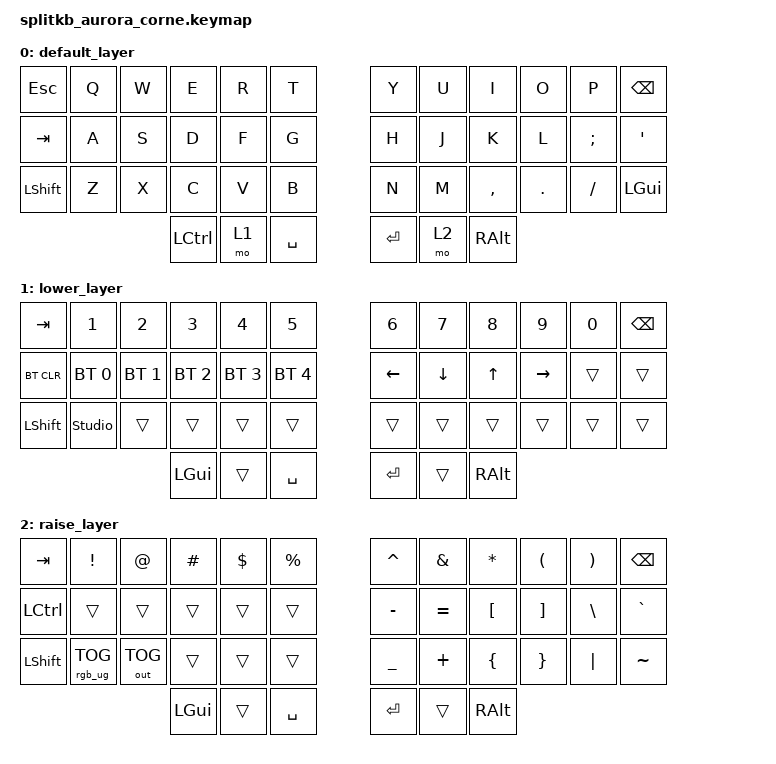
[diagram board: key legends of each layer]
/*
 * Copyright (c) 2020 The ZMK Contributors
 *
 * SPDX-License-Identifier: MIT
 */

#include <behaviors.dtsi>
#include <dt-bindings/zmk/bt.h>
#include <dt-bindings/zmk/keys.h>
#include <dt-bindings/zmk/outputs.h>
#include <dt-bindings/zmk/rgb.h>

/ {
        keymap {
                compatible = "zmk,keymap";

                default_layer {
// -----------------------------------------------------------------------------------------
// |  ESC |  Q  |  W  |  E  |  R  |  T  |   |  Y  |  U   |  I  |  O  |  P  | BSPC |
// |  TAB |  A  |  S  |  D  |  F  |  G  |   |  H  |  J   |  K  |  L  |  ;  |  '   |
// | SHFT |  Z  |  X  |  C  |  V  |  B  |   |  N  |  M   |  ,  |  .  |  /  | GUI  |
//                    | CTL | LWR | SPC |   | ENT | RSE  | ALT |
                        bindings = <
   &kp ESC   &kp Q &kp W &kp E &kp R &kp T   &kp Y &kp U  &kp I     &kp O   &kp P    &kp BSPC
   &kp TAB   &kp A &kp S &kp D &kp F &kp G   &kp H &kp J  &kp K     &kp L   &kp SEMI &kp SQT
   &kp LSHFT &kp Z &kp X &kp C &kp V &kp B   &kp N &kp M  &kp COMMA &kp DOT &kp FSLH &kp LGUI
                  &kp LCTRL &mo 1 &kp SPACE   &kp RET &mo 2 &kp RALT
                        >;
                };
                lower_layer {
// -----------------------------------------------------------------------------------------
// |  TAB |  1  |  2  |  3  |  4  |  5  |   |  6  |  7  |  8  |  9  |  0  | BSPC |
// | BTCLR| BT1 | BT2 | BT3 | BT4 | BT5 |   | LFT | DWN |  UP | RGT |     |      |
// | SHFT |     |     |     |     |     |   |     |     |     |     |     |      |
//                    | GUI |     | SPC |   | ENT |     | ALT |

            bindings = <
&kp TAB     &kp N1          &kp N2        &kp N3        &kp N4        &kp N5          &kp N6    &kp N7    &kp N8    &kp N9     &kp N0  &kp BSPC
&bt BT_CLR  &bt BT_SEL 0    &bt BT_SEL 1  &bt BT_SEL 2  &bt BT_SEL 3  &bt BT_SEL 4    &kp LEFT  &kp DOWN  &kp UP    &kp RIGHT  &trans  &trans
&kp LSHFT   &studio_unlock  &trans        &trans        &trans        &trans          &trans    &trans    &trans    &trans     &trans  &trans
                                          &kp LGUI      &trans        &kp SPACE       &kp RET   &trans    &kp RALT
            >;
                };

                raise_layer {
// -----------------------------------------------------------------------------------------
// |  TAB |  !  |  @  |  #  |  $  |  %  |   |  ^  |  &  |  *  |  (  |  )  | BSPC |
// | CTRL |     |     |     |     |     |   |  -  |  =  |  [  |  ]  |  \  |  `   |
// | SHFT |     |     |     |     |     |   |  _  |  +  |  {  |  }  | "|" |  ~   |
//                    | GUI |     | SPC |   | ENT |     | ALT |
                        bindings = <
   &kp  TAB  &kp EXCL &kp AT &kp HASH &kp DLLR &kp PRCNT   &kp CARET &kp AMPS  &kp ASTRK &kp LPAR &kp RPAR &kp BSPC
   &kp LCTRL &trans            &trans &trans   &trans   &trans      &kp MINUS &kp EQUAL &kp LBKT  &kp RBKT &kp BSLH &kp GRAVE
   &kp LSHFT &rgb_ug RGB_TOG  &out OUT_TOG &trans &trans &trans  &kp UNDER &kp PLUS  &kp LBRC  &kp RBRC &kp PIPE &kp TILDE
                             &kp LGUI &trans   &kp SPACE   &kp RET   &trans    &kp RALT
                        >;
                };
        };
};

&nice_view_spi { cs-gpios = <&pro_micro 0 GPIO_ACTIVE_HIGH>; };
